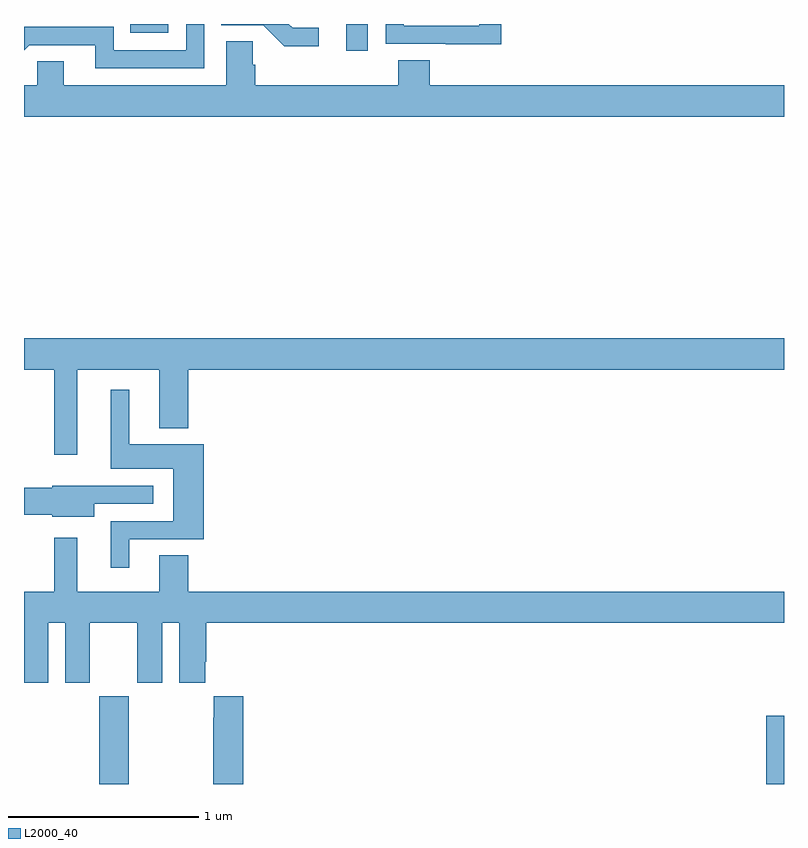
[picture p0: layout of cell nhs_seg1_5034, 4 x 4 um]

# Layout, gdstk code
import gdstk
lib = gdstk.Library(unit=1e-6, precision=1e-09)
def R(c, l, rs):  # rectangles x0, y0, x1, y1
    for r in rs: c.add(gdstk.rectangle(r[:2], r[2:], *l))
def P(c, l, *ps):  # polygons
    for p in ps: c.add(gdstk.Polygon(p, *l))
L2000_40 = (2000, 40)

nhs_seg1_5034 = lib.new_cell('nhs_seg1_5034')
R(nhs_seg1_5034, L2000_40, [(383.395,568.199,383.55,568.66), (386.906,568.199,387,568.558), (384.695,572.058,384.81,572.199), (383.56,572.153,383.758,572.199)])
P(nhs_seg1_5034, L2000_40, [(384.55,572.178),(384.415,572.178),(384.394,572.199),(384.039,572.199),(384.039,572.193),(384.258,572.193),(384.371,572.081),(384.55,572.081)],
  [(385.511,572.199),(385.395,572.199),(385.395,572.19),(384.999,572.19),(384.999,572.199),(384.903,572.199),(384.903,572.094),(385.219,572.094),(385.219,572.093),(385.511,572.093)],
  [(383.949,572.199),(383.853,572.199),(383.853,572.061),(383.472,572.061),(383.472,572.184),(383,572.184),(383,572.06),(383.028,572.088),(383.375,572.088),(383.375,571.965),(383.949,571.965)],
  [(387,571.876),(385.136,571.876),(385.136,572.009),(384.971,572.009),(384.971,571.876),(384.218,571.876),(384.218,571.985),(384.204,571.985),(384.204,572.108),(384.065,572.108),(384.065,571.876),(383.209,571.876),(383.209,572.003),(383.07,572.003),(383.07,571.876),(383,571.876),(383,571.712),(387,571.712)],
  [(383.281,570.38),(383.711,570.38),(383.711,570.071),(383.864,570.071),(383.864,570.38),(387,570.38),(387,570.544),(383,570.544),(383,570.38),(383.16,570.38),(383.16,569.931),(383.281,569.931)],
  [(383.554,569.487),(383.945,569.487),(383.945,569.986),(383.554,569.986),(383.554,570.274),(383.456,570.274),(383.456,569.858),(383.786,569.858),(383.786,569.583),(383.456,569.583),(383.456,569.337),(383.554,569.337)],
  [(383.371,569.673),(383.68,569.673),(383.68,569.769),(383.367,569.769),(383.367,569.77),(383.148,569.77),(383.148,569.759),(383,569.759),(383,569.617),(383.148,569.617),(383.148,569.606),(383.371,569.606)],
  [(383.128,569.048),(383.216,569.048),(383.216,568.731),(383.347,568.731),(383.347,569.048),(383.597,569.048),(383.597,568.731),(383.728,568.731),(383.728,569.048),(383.816,569.048),(383.816,568.731),(383.953,568.731),(383.953,568.843),(383.96,568.843),(383.96,569.048),(387,569.048),(387,569.212),(383.864,569.212),(383.864,569.402),(383.711,569.402),(383.711,569.212),(383.281,569.212),(383.281,569.494),(383.16,569.494),(383.16,569.212),(383,569.212),(383,568.731),(383.128,568.731)],
  [(384.155,568.66),(383.999,568.66),(383.999,568.547),(383.995,568.547),(383.995,568.199),(384.155,568.199)])

lib.write_gds('nhs_seg1_5034.gds')
